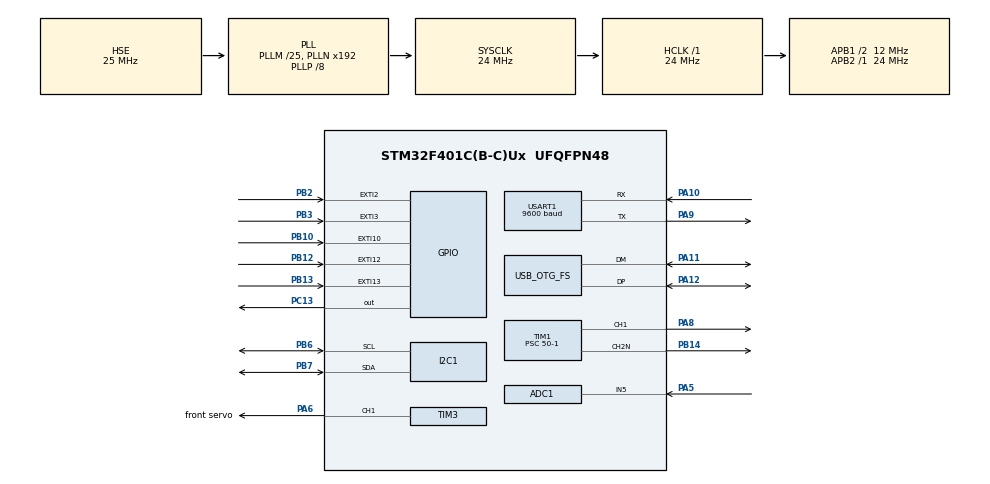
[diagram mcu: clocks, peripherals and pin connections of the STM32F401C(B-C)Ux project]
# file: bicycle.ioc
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ADC1.Channel-14\#ChannelRegularConversion=ADC_CHANNEL_5
ADC1.Channel-15\#ChannelRegularConversion=ADC_CHANNEL_5
ADC1.Channel-16\#ChannelRegularConversion=ADC_CHANNEL_5
ADC1.Channel-17\#ChannelRegularConversion=ADC_CHANNEL_5
ADC1.Channel-18\#ChannelRegularConversion=ADC_CHANNEL_5
ADC1.Channel-19\#ChannelRegularConversion=ADC_CHANNEL_5
ADC1.Channel-20\#ChannelRegularConversion=ADC_CHANNEL_5
ADC1.Channel-21\#ChannelRegularConversion=ADC_CHANNEL_5
ADC1.Channel-22\#ChannelRegularConversion=ADC_CHANNEL_5
ADC1.Channel-23\#ChannelRegularConversion=ADC_CHANNEL_5
ADC1.Channel-24\#ChannelRegularConversion=ADC_CHANNEL_5
ADC1.Channel-25\#ChannelRegularConversion=ADC_CHANNEL_5
ADC1.Channel-26\#ChannelRegularConversion=ADC_CHANNEL_5
ADC1.Channel-27\#ChannelRegularConversion=ADC_CHANNEL_5
ADC1.Channel-28\#ChannelRegularConversion=ADC_CHANNEL_5
ADC1.Channel-29\#ChannelRegularConversion=ADC_CHANNEL_5
ADC1.ContinuousConvMode=ENABLE
ADC1.NbrOfConversion=16
ADC1.NbrOfConversionFlag=1
ADC1.Rank-14\#ChannelRegularConversion=1
ADC1.Rank-15\#ChannelRegularConversion=2
ADC1.Rank-16\#ChannelRegularConversion=3
ADC1.Rank-17\#ChannelRegularConversion=4
ADC1.Rank-18\#ChannelRegularConversion=5
ADC1.Rank-19\#ChannelRegularConversion=6
ADC1.Rank-20\#ChannelRegularConversion=7
ADC1.Rank-21\#ChannelRegularConversion=8
ADC1.Rank-22\#ChannelRegularConversion=9
ADC1.Rank-23\#ChannelRegularConversion=10
ADC1.Rank-24\#ChannelRegularConversion=11
ADC1.Rank-25\#ChannelRegularConversion=12
ADC1.Rank-26\#ChannelRegularConversion=13
ADC1.Rank-27\#ChannelRegularConversion=14
ADC1.Rank-28\#ChannelRegularConversion=15
ADC1.Rank-29\#ChannelRegularConversion=16
ADC1.SamplingTime-14\#ChannelRegularConversion=ADC_SAMPLETIME_3CYCLES
ADC1.SamplingTime-15\#ChannelRegularConversion=ADC_SAMPLETIME_3CYCLES
ADC1.SamplingTime-16\#ChannelRegularConversion=ADC_SAMPLETIME_3CYCLES
ADC1.SamplingTime-17\#ChannelRegularConversion=ADC_SAMPLETIME_3CYCLES
ADC1.SamplingTime-18\#ChannelRegularConversion=ADC_SAMPLETIME_3CYCLES
ADC1.SamplingTime-19\#ChannelRegularConversion=ADC_SAMPLETIME_3CYCLES
ADC1.SamplingTime-20\#ChannelRegularConversion=ADC_SAMPLETIME_3CYCLES
ADC1.SamplingTime-21\#ChannelRegularConversion=ADC_SAMPLETIME_3CYCLES
ADC1.SamplingTime-22\#ChannelRegularConversion=ADC_SAMPLETIME_3CYCLES
ADC1.SamplingTime-23\#ChannelRegularConversion=ADC_SAMPLETIME_3CYCLES
ADC1.SamplingTime-24\#ChannelRegularConversion=ADC_SAMPLETIME_3CYCLES
ADC1.SamplingTime-25\#ChannelRegularConversion=ADC_SAMPLETIME_3CYCLES
ADC1.SamplingTime-26\#ChannelRegularConversion=ADC_SAMPLETIME_3CYCLES
ADC1.SamplingTime-27\#ChannelRegularConversion=ADC_SAMPLETIME_3CYCLES
ADC1.SamplingTime-28\#ChannelRegularConversion=ADC_SAMPLETIME_3CYCLES
ADC1.SamplingTime-29\#ChannelRegularConversion=ADC_SAMPLETIME_3CYCLES
ADC1.master=1
Dma.Request0=USART1_RX
Dma.Request1=USART1_TX
Dma.USART1_RX.0.Direction=DMA_PERIPH_TO_MEMORY
Dma.USART1_RX.0.FIFOMode=DMA_FIFOMODE_DISABLE
Dma.USART1_RX.0.Instance=DMA2_Stream2
Dma.USART1_RX.0.MemDataAlignment=DMA_MDATAALIGN_BYTE
Dma.USART1_RX.0.MemInc=DMA_MINC_ENABLE
Dma.USART1_RX.0.Mode=DMA_NORMAL
Dma.USART1_RX.0.PeriphDataAlignment=DMA_PDATAALIGN_BYTE
Dma.USART1_RX.0.PeriphInc=DMA_PINC_DISABLE
Dma.USART1_RX.0.Priority=DMA_PRIORITY_VERY_HIGH
Dma.USART1_TX.1.Direction=DMA_MEMORY_TO_PERIPH
Dma.USART1_TX.1.FIFOMode=DMA_FIFOMODE_DISABLE
Dma.USART1_TX.1.Instance=DMA2_Stream7
Dma.USART1_TX.1.MemDataAlignment=DMA_MDATAALIGN_BYTE
Dma.USART1_TX.1.MemInc=DMA_MINC_ENABLE
Dma.USART1_TX.1.Mode=DMA_NORMAL
Dma.USART1_TX.1.PeriphDataAlignment=DMA_PDATAALIGN_BYTE
Dma.USART1_TX.1.PeriphInc=DMA_PINC_DISABLE
Dma.USART1_TX.1.Priority=DMA_PRIORITY_VERY_HIGH
Mcu.Family=STM32F4
Mcu.Name=STM32F401C(B-C)Ux
Mcu.Package=UFQFPN48
NVIC.DMA2_Stream2_IRQn=true\:0\:0\:false\:false\:true\:false\:true
NVIC.DMA2_Stream7_IRQn=true\:0\:0\:false\:false\:true\:false\:true
NVIC.EXTI15_10_IRQn=true\:0\:0\:false\:false\:true\:true\:true
NVIC.EXTI2_IRQn=true\:0\:0\:false\:false\:true\:true\:true
NVIC.EXTI3_IRQn=true\:0\:0\:false\:false\:true\:true\:true
NVIC.OTG_FS_IRQn=true\:0\:0\:false\:false\:true\:false\:true
NVIC.PriorityGroup=NVIC_PRIORITYGROUP_4
NVIC.TIM2_IRQn=true\:0\:0\:false\:false\:true\:true\:true
NVIC.USART1_IRQn=true\:0\:0\:false\:false\:true\:true\:true
PA10.GPIO_ModeDefaultPP=GPIO_MODE_AF_PP
PA10.Mode=Asynchronous
PA10.Signal=USART1_RX
PA11.Mode=Device_Only
PA11.Signal=USB_OTG_FS_DM
PA12.Mode=Device_Only
PA12.Signal=USB_OTG_FS_DP
PA5.Signal=ADCx_IN5
PA6.GPIO_Label=front servo
PA6.GPIO_ModeDefaultPP=GPIO_MODE_AF_PP
PA6.GPIO_PuPd=GPIO_PULLUP
PA6.Signal=S_TIM3_CH1
PA8.GPIO_ModeDefaultPP=GPIO_MODE_AF_OD
PA8.Signal=S_TIM1_CH1
PA9.GPIO_ModeDefaultPP=GPIO_MODE_AF_OD
PA9.Mode=Asynchronous
PA9.Signal=USART1_TX
PB10.GPIO_ModeDefaultEXTI=GPIO_MODE_IT_RISING_FALLING
PB10.GPIO_PuPd=GPIO_PULLDOWN
PB10.Signal=GPXTI10
PB12.GPIO_ModeDefaultEXTI=GPIO_MODE_IT_RISING_FALLING
PB12.GPIO_PuPd=GPIO_PULLDOWN
PB12.Signal=GPXTI12
PB13.GPIO_ModeDefaultEXTI=GPIO_MODE_IT_RISING_FALLING
PB13.GPIO_PuPd=GPIO_PULLDOWN
PB13.Signal=GPXTI13
PB14.GPIO_ModeDefaultPP=GPIO_MODE_AF_OD
PB14.Mode=PWM Generation2 CH2N
PB14.Signal=TIM1_CH2N
PB2.GPIO_ModeDefaultEXTI=GPIO_MODE_IT_RISING_FALLING
PB2.GPIO_PuPd=GPIO_PULLDOWN
PB2.Signal=GPXTI2
PB3.GPIO_ModeDefaultEXTI=GPIO_MODE_IT_RISING_FALLING
PB3.GPIO_PuPd=GPIO_PULLUP
PB3.Signal=GPXTI3
PB6.GPIO_Pu=GPIO_PULLUP
PB6.Mode=I2C
PB6.Signal=I2C1_SCL
PB7.GPIO_Pu=GPIO_PULLUP
PB7.Mode=I2C
PB7.Signal=I2C1_SDA
PC13-ANTI_TAMP.Signal=GPIO_Output
PC14-OSC32_IN.Mode=LSE-External-Oscillator
PC14-OSC32_IN.Signal=RCC_OSC32_IN
PC15-OSC32_OUT.Mode=LSE-External-Oscillator
PC15-OSC32_OUT.Signal=RCC_OSC32_OUT
PH0\ -\ OSC_IN.Mode=HSE-External-Oscillator
PH0\ -\ OSC_IN.Signal=RCC_OSC_IN
PH1\ -\ OSC_OUT.Mode=HSE-External-Oscillator
PH1\ -\ OSC_OUT.Signal=RCC_OSC_OUT
ProjectManager.HeapSize=0x200
ProjectManager.StackSize=0x400
ProjectManager.TargetToolchain=SW4STM32
RCC.48MHZClocksFreq_Value=48000000
RCC.AHBFreq_Value=24000000
RCC.APB1CLKDivider=RCC_HCLK_DIV2
RCC.APB1Freq_Value=12000000
RCC.APB1TimFreq_Value=24000000
RCC.APB2Freq_Value=24000000
RCC.APB2TimFreq_Value=24000000
RCC.CortexFreq_Value=24000000
RCC.HCLKFreq_Value=24000000
RCC.HSE_VALUE=25000000
RCC.HSI_VALUE=16000000
RCC.PLLM=25
RCC.PLLP=RCC_PLLP_DIV8
RCC.RCC_RTC_Clock_Source=RCC_RTCCLKSOURCE_LSE
RCC.RCC_RTC_Clock_SourceVirtual=RCC_RTCCLKSOURCE_LSE
RCC.SYSCLKFreq_VALUE=24000000
RCC.SYSCLKSource=RCC_SYSCLKSOURCE_PLLCLK
RCC.VCOOutputFreq_Value=192000000
SH.ADCx_IN5.0=ADC1_IN5,IN5
SH.S_TIM1_CH1.0=TIM1_CH1,PWM Generation1 CH1
SH.S_TIM3_CH1.0=TIM3_CH1,PWM Generation1 CH1
TIM1.AutoReloadPreload=TIM_AUTORELOAD_PRELOAD_DISABLE
TIM1.Channel-PWM\ Generation1\ CH1=TIM_CHANNEL_1
TIM1.Channel-PWM\ Generation2\ CH2N=TIM_CHANNEL_2
TIM1.Period=1000-1
TIM1.Prescaler=50-1
TIM2.AutoReloadPreload=TIM_AUTORELOAD_PRELOAD_ENABLE
TIM2.Period=24000-1
TIM2.Prescaler=100-1
TIM3.Channel-PWM\ Generation1\ CH1=TIM_CHANNEL_1
TIM3.Period=10000-1
TIM3.Prescaler=48-1
USART1.BaudRate=9600
USART1.VirtualMode=VM_ASYNC
USB_DEVICE.CLASS_NAME_FS=MSC
USB_DEVICE.VirtualMode=Msc
USB_DEVICE.VirtualModeFS=Msc_FS
USB_OTG_FS.VirtualMode=Device_Only
VP_RTC_VS_RTC_Activate.Mode=RTC_Enabled
VP_TIM1_VS_ClockSourceINT.Mode=Internal
VP_TIM2_VS_ClockSourceINT.Mode=Internal
VP_USB_DEVICE_VS_USB_DEVICE_MSC_FS.Mode=MSC_FS
board=custom

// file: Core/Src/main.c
/* USER CODE BEGIN Header */
/**
  ******************************************************************************
  * @file           : main.c
  * @brief          : Main program body
  ******************************************************************************
  * @attention
  *
  * <h2><center>&copy; Copyright (c) 2021 STMicroelectronics.
  * All rights reserved.</center></h2>
  *
  * This software component is licensed by ST under BSD 3-Clause license,
  * the "License"; You may not use this file except in compliance with the
  * License. You may obtain a copy of the License at:
  *                        opensource.org/licenses/BSD-3-Clause
  *
  ******************************************************************************
  */
/* USER CODE END Header */
#include "main.h"
#include "usb_device.h"

/* USER CODE BEGIN Includes */
#include <assert.h>

/* USER CODE END Includes */

ADC_HandleTypeDef hadc1;

I2C_HandleTypeDef hi2c1;

RTC_HandleTypeDef hrtc;

TIM_HandleTypeDef htim1;
TIM_HandleTypeDef htim2;
TIM_HandleTypeDef htim3;

UART_HandleTypeDef huart1;
DMA_HandleTypeDef hdma_usart1_rx;
DMA_HandleTypeDef hdma_usart1_tx;

void SystemClock_Config(void);
static void MX_GPIO_Init(void);
static void MX_I2C1_Init(void);
static void MX_TIM1_Init(void);
static void MX_TIM2_Init(void);
static void MX_ADC1_Init(void);
static void MX_DMA_Init(void);
static void MX_USART1_UART_Init(void);
static void MX_TIM3_Init(void);
static void MX_RTC_Init(void);

/* USER CODE BEGIN 0 */
extern void app_run();
/* USER CODE END 0 */

int main(void)
{

  /* MCU Configuration--------------------------------------------------------*/

  /* Reset of all peripherals, Initializes the Flash interface and the Systick. */
  HAL_Init();

  /* Configure the system clock */
  SystemClock_Config();

  /* Initialize all configured peripherals */
  MX_GPIO_Init();
  MX_I2C1_Init();
  MX_USB_DEVICE_Init();
  MX_TIM1_Init();
  MX_TIM2_Init();
  MX_ADC1_Init();
  MX_DMA_Init();
  MX_USART1_UART_Init();
  MX_TIM3_Init();
  MX_RTC_Init();
  /* USER CODE BEGIN 2 */

  HAL_Delay(500); // there are some voltage peaks during startup; waiting until power stabilization

  HAL_TIM_PWM_Start(&htim1, TIM_CHANNEL_1);
  HAL_TIMEx_PWMN_Start(&htim1, TIM_CHANNEL_2);
  __HAL_TIM_SET_COMPARE(&htim1, TIM_CHANNEL_1, 0);
  __HAL_TIM_SET_COMPARE(&htim1, TIM_CHANNEL_2, 0);
  HAL_TIM_Base_Start_IT(&htim2);
  HAL_TIM_PWM_Start(&htim3, TIM_CHANNEL_1);

  app_run();
  /* USER CODE END 2 */

  /* Infinite loop */
  /* USER CODE BEGIN WHILE */

  app_run();
  /* USER CODE END 2 */

  /* Infinite loop */
  /* USER CODE BEGIN WHILE */

  app_run();
  /* USER CODE END 2 */

  /* Infinite loop */
  /* USER CODE BEGIN WHILE */
  while (1)
  {
    /* USER CODE END WHILE */

    /* USER CODE BEGIN 3 */
        for (int i = 0; i < 1000; ++i) {
            htim1.Instance->CCR1 = 300 + i; // 500-1000
            HAL_Delay(10);
        }
    }

  app_run();
  /* USER CODE END 2 */

  /* Infinite loop */
  /* USER CODE BEGIN WHILE */
  while (1)
  {
    /* USER CODE END WHILE */

    /* USER CODE BEGIN 3 */
      HAL_GPIO_TogglePin(GPIOC, GPIO_PIN_13);
      HAL_Delay(500);

//    uint8_t t[] = {0x0d, 0, 0x96, 0x4f, 0x2a, 0x3e, 0x00, 0xea, 0x00, 0x14, 0x01, 0x32, 0x0e};
      uint8_t t[] = {0x0c, 0x05, 0xf6, 0x50, 0x29, 0x47, 0x00, 0xea, 0x00, 0x14, 0x01, 0x32, 0x0e};
      HAL_UART_Transmit(&huart1, t, sizeof(t), 0xfffff);

  }
  /* USER CODE END 3 */
}

void SystemClock_Config(void)
{
  RCC_OscInitTypeDef RCC_OscInitStruct = {0};
  RCC_ClkInitTypeDef RCC_ClkInitStruct = {0};

  /** Configure the main internal regulator output voltage
  */
  __HAL_RCC_PWR_CLK_ENABLE();
  __HAL_PWR_VOLTAGESCALING_CONFIG(PWR_REGULATOR_VOLTAGE_SCALE2);
  /** Initializes the RCC Oscillators according to the specified parameters
  * in the RCC_OscInitTypeDef structure.
  */
  RCC_OscInitStruct.OscillatorType = RCC_OSCILLATORTYPE_HSE|RCC_OSCILLATORTYPE_LSE;
  RCC_OscInitStruct.HSEState = RCC_HSE_ON;
  RCC_OscInitStruct.LSEState = RCC_LSE_ON;
  RCC_OscInitStruct.PLL.PLLState = RCC_PLL_ON;
  RCC_OscInitStruct.PLL.PLLSource = RCC_PLLSOURCE_HSE;
  RCC_OscInitStruct.PLL.PLLM = 25;
  RCC_OscInitStruct.PLL.PLLN = 192;
  RCC_OscInitStruct.PLL.PLLP = RCC_PLLP_DIV8;
  RCC_OscInitStruct.PLL.PLLQ = 4;
  if (HAL_RCC_OscConfig(&RCC_OscInitStruct) != HAL_OK)
  {
    Error_Handler();
  }
  /** Initializes the CPU, AHB and APB buses clocks
  */
  RCC_ClkInitStruct.ClockType = RCC_CLOCKTYPE_HCLK|RCC_CLOCKTYPE_SYSCLK
                              |RCC_CLOCKTYPE_PCLK1|RCC_CLOCKTYPE_PCLK2;
  RCC_ClkInitStruct.SYSCLKSource = RCC_SYSCLKSOURCE_PLLCLK;
  RCC_ClkInitStruct.AHBCLKDivider = RCC_SYSCLK_DIV1;
  RCC_ClkInitStruct.APB1CLKDivider = RCC_HCLK_DIV2;
  RCC_ClkInitStruct.APB2CLKDivider = RCC_HCLK_DIV1;

  if (HAL_RCC_ClockConfig(&RCC_ClkInitStruct, FLASH_LATENCY_0) != HAL_OK)
  {
    Error_Handler();
  }
}

static void MX_ADC1_Init(void)
{

  ADC_ChannelConfTypeDef sConfig = {0};

  /** Configure the global features of the ADC (Clock, Resolution, Data Alignment and number of conversion)
  */
  hadc1.Instance = ADC1;
  hadc1.Init.ClockPrescaler = ADC_CLOCK_SYNC_PCLK_DIV2;
  hadc1.Init.Resolution = ADC_RESOLUTION_12B;
  hadc1.Init.ScanConvMode = ENABLE;
  hadc1.Init.ContinuousConvMode = ENABLE;
  hadc1.Init.DiscontinuousConvMode = DISABLE;
  hadc1.Init.ExternalTrigConvEdge = ADC_EXTERNALTRIGCONVEDGE_NONE;
  hadc1.Init.ExternalTrigConv = ADC_SOFTWARE_START;
  hadc1.Init.DataAlign = ADC_DATAALIGN_RIGHT;
  hadc1.Init.NbrOfConversion = 16;
  hadc1.Init.DMAContinuousRequests = DISABLE;
  hadc1.Init.EOCSelection = ADC_EOC_SINGLE_CONV;
  if (HAL_ADC_Init(&hadc1) != HAL_OK)
  {
    Error_Handler();
  }
  /** Configure for the selected ADC regular channel its corresponding rank in the sequencer and its sample time.
  */
  sConfig.Channel = ADC_CHANNEL_5;
  sConfig.Rank = 1;
  sConfig.SamplingTime = ADC_SAMPLETIME_3CYCLES;
  if (HAL_ADC_ConfigChannel(&hadc1, &sConfig) != HAL_OK)
  {
    Error_Handler();
  }
  /** Configure for the selected ADC regular channel its corresponding rank in the sequencer and its sample time.
  */
  sConfig.Rank = 2;
  if (HAL_ADC_ConfigChannel(&hadc1, &sConfig) != HAL_OK)
  {
    Error_Handler();
  }
  /** Configure for the selected ADC regular channel its corresponding rank in the sequencer and its sample time.
  */
  sConfig.Rank = 3;
  if (HAL_ADC_ConfigChannel(&hadc1, &sConfig) != HAL_OK)
  {
    Error_Handler();
  }
  /** Configure for the selected ADC regular channel its corresponding rank in the sequencer and its sample time.
  */
  sConfig.Rank = 4;
  if (HAL_ADC_ConfigChannel(&hadc1, &sConfig) != HAL_OK)
  {
    Error_Handler();
  }
  /** Configure for the selected ADC regular channel its corresponding rank in the sequencer and its sample time.
  */
  sConfig.Rank = 5;
  if (HAL_ADC_ConfigChannel(&hadc1, &sConfig) != HAL_OK)
  {
    Error_Handler();
  }
  /** Configure for the selected ADC regular channel its corresponding rank in the sequencer and its sample time.
  */
  sConfig.Rank = 6;
  if (HAL_ADC_ConfigChannel(&hadc1, &sConfig) != HAL_OK)
  {
    Error_Handler();
  }
  /** Configure for the selected ADC regular channel its corresponding rank in the sequencer and its sample time.
  */
  sConfig.Rank = 7;
  if (HAL_ADC_ConfigChannel(&hadc1, &sConfig) != HAL_OK)
  {
    Error_Handler();
  }
  /** Configure for the selected ADC regular channel its corresponding rank in the sequencer and its sample time.
  */
  sConfig.Rank = 8;
  if (HAL_ADC_ConfigChannel(&hadc1, &sConfig) != HAL_OK)
  {
    Error_Handler();
  }
  /** Configure for the selected ADC regular channel its corresponding rank in the sequencer and its sample time.
  */
  sConfig.Rank = 9;
  if (HAL_ADC_ConfigChannel(&hadc1, &sConfig) != HAL_OK)
  {
    Error_Handler();
  }
  /** Configure for the selected ADC regular channel its corresponding rank in the sequencer and its sample time.
  */
  sConfig.Rank = 10;
  if (HAL_ADC_ConfigChannel(&hadc1, &sConfig) != HAL_OK)
  {
    Error_Handler();
  }
  /** Configure for the selected ADC regular channel its corresponding rank in the sequencer and its sample time.
  */
  sConfig.Rank = 11;
  if (HAL_ADC_ConfigChannel(&hadc1, &sConfig) != HAL_OK)
  {
    Error_Handler();
  }
  /** Configure for the selected ADC regular channel its corresponding rank in the sequencer and its sample time.
  */
  sConfig.Rank = 12;
  if (HAL_ADC_ConfigChannel(&hadc1, &sConfig) != HAL_OK)
  {
    Error_Handler();
  }
  /** Configure for the selected ADC regular channel its corresponding rank in the sequencer and its sample time.
  */
  sConfig.Rank = 13;
  if (HAL_ADC_ConfigChannel(&hadc1, &sConfig) != HAL_OK)
  {
    Error_Handler();
  }
  /** Configure for the selected ADC regular channel its corresponding rank in the sequencer and its sample time.
  */
  sConfig.Rank = 14;
  if (HAL_ADC_ConfigChannel(&hadc1, &sConfig) != HAL_OK)
  {
    Error_Handler();
  }
  /** Configure for the selected ADC regular channel its corresponding rank in the sequencer and its sample time.
  */
  sConfig.Rank = 15;
  if (HAL_ADC_ConfigChannel(&hadc1, &sConfig) != HAL_OK)
  {
    Error_Handler();
  }
  /** Configure for the selected ADC regular channel its corresponding rank in the sequencer and its sample time.
  */
  sConfig.Rank = 16;
  if (HAL_ADC_ConfigChannel(&hadc1, &sConfig) != HAL_OK)
  {
    Error_Handler();
  }

}

static void MX_I2C1_Init(void)
{

  hi2c1.Instance = I2C1;
  hi2c1.Init.ClockSpeed = 100000;
  hi2c1.Init.DutyCycle = I2C_DUTYCYCLE_2;
  hi2c1.Init.OwnAddress1 = 0;
  hi2c1.Init.AddressingMode = I2C_ADDRESSINGMODE_7BIT;
  hi2c1.Init.DualAddressMode = I2C_DUALADDRESS_DISABLE;
  hi2c1.Init.OwnAddress2 = 0;
  hi2c1.Init.GeneralCallMode = I2C_GENERALCALL_DISABLE;
  hi2c1.Init.NoStretchMode = I2C_NOSTRETCH_DISABLE;
  if (HAL_I2C_Init(&hi2c1) != HAL_OK)
  {
    Error_Handler();
  }

}

static void MX_RTC_Init(void)
{

  /** Initialize RTC Only
  */
  hrtc.Instance = RTC;
  hrtc.Init.HourFormat = RTC_HOURFORMAT_24;
  hrtc.Init.AsynchPrediv = 127;
  hrtc.Init.SynchPrediv = 255;
  hrtc.Init.OutPut = RTC_OUTPUT_DISABLE;
  hrtc.Init.OutPutPolarity = RTC_OUTPUT_POLARITY_HIGH;
  hrtc.Init.OutPutType = RTC_OUTPUT_TYPE_OPENDRAIN;
  if (HAL_RTC_Init(&hrtc) != HAL_OK)
  {
    Error_Handler();
  }

}

static void MX_TIM1_Init(void)
{

  TIM_ClockConfigTypeDef sClockSourceConfig = {0};
  TIM_MasterConfigTypeDef sMasterConfig = {0};
  TIM_OC_InitTypeDef sConfigOC = {0};
  TIM_BreakDeadTimeConfigTypeDef sBreakDeadTimeConfig = {0};

  htim1.Instance = TIM1;
  htim1.Init.Prescaler = 50-1;
  htim1.Init.CounterMode = TIM_COUNTERMODE_UP;
  htim1.Init.Period = 1000-1;
  htim1.Init.ClockDivision = TIM_CLOCKDIVISION_DIV1;
  htim1.Init.RepetitionCounter = 0;
  htim1.Init.AutoReloadPreload = TIM_AUTORELOAD_PRELOAD_DISABLE;
  if (HAL_TIM_Base_Init(&htim1) != HAL_OK)
  {
    Error_Handler();
  }
  sClockSourceConfig.ClockSource = TIM_CLOCKSOURCE_INTERNAL;
  if (HAL_TIM_ConfigClockSource(&htim1, &sClockSourceConfig) != HAL_OK)
  {
    Error_Handler();
  }
  if (HAL_TIM_PWM_Init(&htim1) != HAL_OK)
  {
    Error_Handler();
  }
  sMasterConfig.MasterOutputTrigger = TIM_TRGO_RESET;
  sMasterConfig.MasterSlaveMode = TIM_MASTERSLAVEMODE_DISABLE;
  if (HAL_TIMEx_MasterConfigSynchronization(&htim1, &sMasterConfig) != HAL_OK)
  {
    Error_Handler();
  }
  sConfigOC.OCMode = TIM_OCMODE_PWM1;
  sConfigOC.Pulse = 0;
  sConfigOC.OCPolarity = TIM_OCPOLARITY_HIGH;
  sConfigOC.OCNPolarity = TIM_OCNPOLARITY_HIGH;
  sConfigOC.OCFastMode = TIM_OCFAST_DISABLE;
  sConfigOC.OCIdleState = TIM_OCIDLESTATE_RESET;
  sConfigOC.OCNIdleState = TIM_OCNIDLESTATE_RESET;
  if (HAL_TIM_PWM_ConfigChannel(&htim1, &sConfigOC, TIM_CHANNEL_1) != HAL_OK)
  {
    Error_Handler();
  }
  if (HAL_TIM_PWM_ConfigChannel(&htim1, &sConfigOC, TIM_CHANNEL_2) != HAL_OK)
  {
    Error_Handler();
  }
  sBreakDeadTimeConfig.OffStateRunMode = TIM_OSSR_DISABLE;
  sBreakDeadTimeConfig.OffStateIDLEMode = TIM_OSSI_DISABLE;
  sBreakDeadTimeConfig.LockLevel = TIM_LOCKLEVEL_OFF;
  sBreakDeadTimeConfig.DeadTime = 0;
  sBreakDeadTimeConfig.BreakState = TIM_BREAK_DISABLE;
  sBreakDeadTimeConfig.BreakPolarity = TIM_BREAKPOLARITY_HIGH;
  sBreakDeadTimeConfig.AutomaticOutput = TIM_AUTOMATICOUTPUT_DISABLE;
  if (HAL_TIMEx_ConfigBreakDeadTime(&htim1, &sBreakDeadTimeConfig) != HAL_OK)
  {
    Error_Handler();
  }
  HAL_TIM_MspPostInit(&htim1);

}

static void MX_TIM2_Init(void)
{

  TIM_ClockConfigTypeDef sClockSourceConfig = {0};
  TIM_MasterConfigTypeDef sMasterConfig = {0};

  htim2.Instance = TIM2;
  htim2.Init.Prescaler = 100-1;
  htim2.Init.CounterMode = TIM_COUNTERMODE_UP;
  htim2.Init.Period = 24000-1;
  htim2.Init.ClockDivision = TIM_CLOCKDIVISION_DIV1;
  htim2.Init.AutoReloadPreload = TIM_AUTORELOAD_PRELOAD_ENABLE;
  if (HAL_TIM_Base_Init(&htim2) != HAL_OK)
  {
    Error_Handler();
  }
  sClockSourceConfig.ClockSource = TIM_CLOCKSOURCE_INTERNAL;
  if (HAL_TIM_ConfigClockSource(&htim2, &sClockSourceConfig) != HAL_OK)
  {
    Error_Handler();
  }
  sMasterConfig.MasterOutputTrigger = TIM_TRGO_RESET;
  sMasterConfig.MasterSlaveMode = TIM_MASTERSLAVEMODE_DISABLE;
  if (HAL_TIMEx_MasterConfigSynchronization(&htim2, &sMasterConfig) != HAL_OK)
  {
    Error_Handler();
  }

}

static void MX_TIM3_Init(void)
{

  TIM_MasterConfigTypeDef sMasterConfig = {0};
  TIM_OC_InitTypeDef sConfigOC = {0};

  htim3.Instance = TIM3;
  htim3.Init.Prescaler = 48-1;
  htim3.Init.CounterMode = TIM_COUNTERMODE_UP;
  htim3.Init.Period = 10000-1;
  htim3.Init.ClockDivision = TIM_CLOCKDIVISION_DIV1;
  htim3.Init.AutoReloadPreload = TIM_AUTORELOAD_PRELOAD_DISABLE;
  if (HAL_TIM_PWM_Init(&htim3) != HAL_OK)
  {
    Error_Handler();
  }
  sMasterConfig.MasterOutputTrigger = TIM_TRGO_RESET;
  sMasterConfig.MasterSlaveMode = TIM_MASTERSLAVEMODE_DISABLE;
  if (HAL_TIMEx_MasterConfigSynchronization(&htim3, &sMasterConfig) != HAL_OK)
  {
    Error_Handler();
  }
  sConfigOC.OCMode = TIM_OCMODE_PWM1;
  sConfigOC.Pulse = 0;
  sConfigOC.OCPolarity = TIM_OCPOLARITY_HIGH;
  sConfigOC.OCFastMode = TIM_OCFAST_DISABLE;
  if (HAL_TIM_PWM_ConfigChannel(&htim3, &sConfigOC, TIM_CHANNEL_1) != HAL_OK)
  {
    Error_Handler();
  }
  HAL_TIM_MspPostInit(&htim3);

}

static void MX_USART1_UART_Init(void)
{

  huart1.Instance = USART1;
  huart1.Init.BaudRate = 9600;
  huart1.Init.WordLength = UART_WORDLENGTH_8B;
  huart1.Init.StopBits = UART_STOPBITS_1;
  huart1.Init.Parity = UART_PARITY_NONE;
  huart1.Init.Mode = UART_MODE_TX_RX;
  huart1.Init.HwFlowCtl = UART_HWCONTROL_NONE;
  huart1.Init.OverSampling = UART_OVERSAMPLING_16;
  if (HAL_UART_Init(&huart1) != HAL_OK)
  {
    Error_Handler();
  }

}

static void MX_DMA_Init(void)
{

  /* DMA controller clock enable */
  __HAL_RCC_DMA2_CLK_ENABLE();

  /* DMA interrupt init */
  /* DMA2_Stream2_IRQn interrupt configuration */
  HAL_NVIC_SetPriority(DMA2_Stream2_IRQn, 0, 0);
  HAL_NVIC_EnableIRQ(DMA2_Stream2_IRQn);
  /* DMA2_Stream7_IRQn interrupt configuration */
  HAL_NVIC_SetPriority(DMA2_Stream7_IRQn, 0, 0);
  HAL_NVIC_EnableIRQ(DMA2_Stream7_IRQn);

}

static void MX_GPIO_Init(void)
{
  GPIO_InitTypeDef GPIO_InitStruct = {0};

  /* GPIO Ports Clock Enable */
  __HAL_RCC_GPIOC_CLK_ENABLE();
  __HAL_RCC_GPIOH_CLK_ENABLE();
  __HAL_RCC_GPIOA_CLK_ENABLE();
  __HAL_RCC_GPIOB_CLK_ENABLE();

  /*Configure GPIO pin Output Level */
  HAL_GPIO_WritePin(GPIOC, GPIO_PIN_13, GPIO_PIN_RESET);

  /*Configure GPIO pin : PC13 */
  GPIO_InitStruct.Pin = GPIO_PIN_13;
  GPIO_InitStruct.Mode = GPIO_MODE_OUTPUT_PP;
  GPIO_InitStruct.Pull = GPIO_NOPULL;
  GPIO_InitStruct.Speed = GPIO_SPEED_FREQ_LOW;
  HAL_GPIO_Init(GPIOC, &GPIO_InitStruct);

  /*Configure GPIO pins : PB2 PB10 PB12 PB13 */
  GPIO_InitStruct.Pin = GPIO_PIN_2|GPIO_PIN_10|GPIO_PIN_12|GPIO_PIN_13;
  GPIO_InitStruct.Mode = GPIO_MODE_IT_RISING_FALLING;
  GPIO_InitStruct.Pull = GPIO_PULLDOWN;
  HAL_GPIO_Init(GPIOB, &GPIO_InitStruct);

  /*Configure GPIO pin : PB3 */
  GPIO_InitStruct.Pin = GPIO_PIN_3;
  GPIO_InitStruct.Mode = GPIO_MODE_IT_RISING_FALLING;
  GPIO_InitStruct.Pull = GPIO_PULLUP;
  HAL_GPIO_Init(GPIOB, &GPIO_InitStruct);

  /* EXTI interrupt init*/
  HAL_NVIC_SetPriority(EXTI2_IRQn, 0, 0);
  HAL_NVIC_EnableIRQ(EXTI2_IRQn);

  HAL_NVIC_SetPriority(EXTI3_IRQn, 0, 0);
  HAL_NVIC_EnableIRQ(EXTI3_IRQn);

  HAL_NVIC_SetPriority(EXTI15_10_IRQn, 0, 0);
  HAL_NVIC_EnableIRQ(EXTI15_10_IRQn);

}

void Error_Handler(void)
{
  /* USER CODE BEGIN Error_Handler_Debug */
  /* User can add his own implementation to report the HAL error return state */
  __disable_irq();
  while (1)
  {
      HAL_NVIC_SystemReset();
  }
  /* USER CODE END Error_Handler_Debug */
}

/************************ (C) COPYRIGHT STMicroelectronics *****END OF FILE****/
